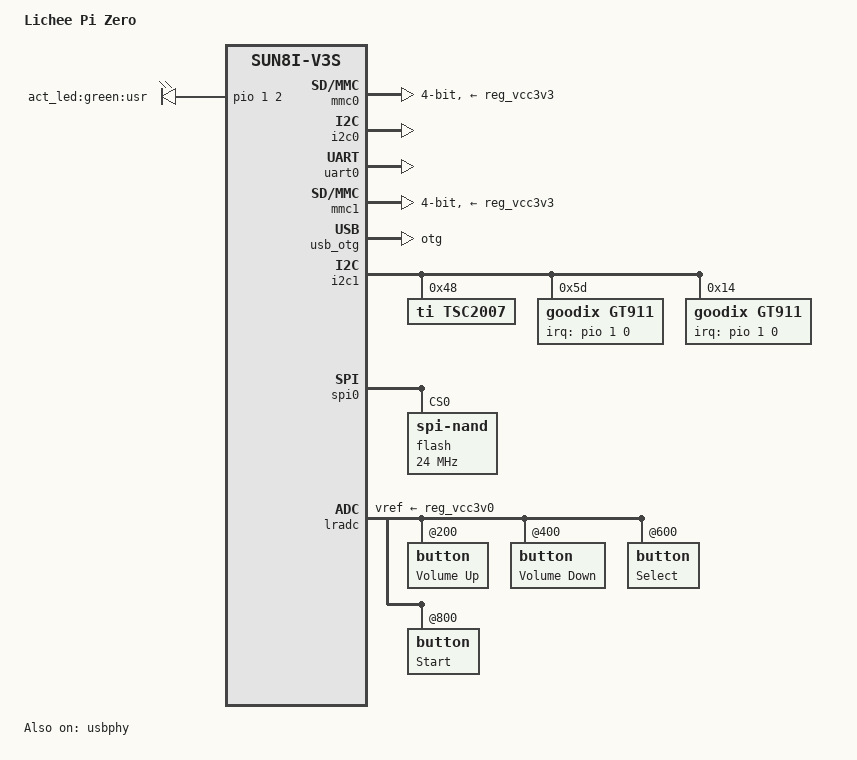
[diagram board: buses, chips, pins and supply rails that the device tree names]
/dts-v1/;
#include "sun8i-v3s.dtsi"
#include "sunxi-common-regulators.dtsi"
#include <dt-bindings/input/input.h>

/ {
	model = "Lichee Pi Zero";
	compatible = "licheepi,licheepi-zero", "allwinner,sun8i-v3s";

	aliases {
		serial0 = &uart0;
		spi0 = &spi0;
	};

	chosen {
		stdout-path = "serial0:115200n8";

		fb0: framebuffer@0 {
			compatible = "allwinner,simple-framebuffer", "simple-framebuffer";
			allwinner,pipeline = "de0-lcd0";
			clocks = <0x2 0x21 0x2 0x23 0x2 0x3f 0x2 0x40>;
			status = "disabled";
		};
	};


/*
	leds {
		compatible = "gpio-leds";

		blue_led {
			label = "licheepi:blue:usr";
			gpios = <&pio 6 1 GPIO_ACTIVE_LOW>; /* PG1 * /
		};

		green_led {
			label = "licheepi:green:usr";
			gpios = <&pio 6 0 GPIO_ACTIVE_LOW>; /* PG0 * /
			default-state = "on";
		};

		red_led {
			label = "licheepi:red:usr";
			gpios = <&pio 6 2 GPIO_ACTIVE_LOW>; /* PG2 * /
		};
	};
*/

    leds {
        compatible = "gpio-leds";

        act_led {
            label = "act_led:green:usr";
            gpios = <&pio 1 2 GPIO_ACTIVE_HIGH>; /* PB2 */
            linux,default-trigger = "mmc0";
            default-state = "off";
        };
    };

};

&mmc0 {
	pinctrl-0 = <&mmc0_pins_a>;
	pinctrl-names = "default";
	broken-cd;
	bus-width = <4>;
	vmmc-supply = <&reg_vcc3v3>;
	status = "okay";
};

&i2c0 {
    status = "okay";
};

&uart0 {
	pinctrl-0 = <&uart0_pins_a>;
	pinctrl-names = "default";
	status = "okay";
};

&mmc1 {
    pinctrl-0 = <&mmc1_pins>;
    pinctrl-names = "default";
    broken-cd;
    bus-width = <4>;
    /**/
    vmmc-supply = <&reg_vcc3v3>;
    /**/
    status = "okay";
};


&usb_otg {
	dr_mode = "otg";
	status = "okay";
};

&usbphy {
	usb0_id_det-gpio = <&pio 5 6 GPIO_ACTIVE_HIGH>;
	status = "okay";
};

&i2c1 {
    status = "okay";

    tsc2007: tsc2007@48 {
        compatible = "ti,tsc2007";
        reg = <0x48>;
        ti,x-plate-ohms = <400>;
    };


/*
    ns2009: ns2009@48 {
        compatible = "nsiway,ns2009";
        reg = <0x48>;
    };
*/

    gt911@5d {
        compatible = "goodix,gt911";
        reg = <0x5d>;
        interrupt-parent = <&pio>;
        /* interrupts = <21 IRQ_TYPE_NONE>; /* EINT21 (PH21) */
        interrupts = <1 0 IRQ_TYPE_EDGE_FALLING>;

        //touchscreen-inverted-y;
        touchscreen-size-x = <800>;
        touchscreen-size-y = <480>;
/*
        touchscreen-size-x = <800>;
        touchscreen-size-y = <480>;

        irq-gpios   = <&pio 1 0 GPIO_ACTIVE_LOW>;
        reset-gpios = <&pio 1 1 GPIO_ACTIVE_LOW>;
*/
    };

    gt911@14 {
        compatible = "goodix,gt911";
        reg = <0x14>;
        interrupt-parent = <&pio>;
        /*interrupts = <21 IRQ_TYPE_NONE>; /* EINT21 (PH21) */
        interrupts = <1 0 IRQ_TYPE_EDGE_FALLING>;

        //touchscreen-inverted-y;
        touchscreen-size-x = <800>;
        touchscreen-size-y = <480>;
/*
        touchscreen-size-x = <800>;
        touchscreen-size-y = <480>;

        irq-gpios   = <&pio 1 0 GPIO_ACTIVE_LOW>;
        reset-gpios = <&pio 1 1 GPIO_ACTIVE_LOW>;
*/
    };

};

&spi0 {
	status = "okay";
/** /
    spidev@0 {
        compatible = "allwinner,sun8i-h3-spi";
        reg = <1>;
        spi-max-frequency = <100000>;
        
        #address-cells = <1>;
        #size-cells = <0>;
    };
/** /
       spidev@0x00 {
               compatible = "spidev";
               spi-max-frequency = <1200000>;
               reg = <0>;
       };
/** /
	flash: spinand@0 {
		#address-cells = <1>;
		#size-cells = <1>;
		compatible = "spi-nand";
		reg = <0>;

		spi-max-frequency = <40000000>;

		boot@0 {
			label = "boot";
			reg = <0x0000000 0x0100000>;
		};

		ubi0@100000 {
			label = "ubi0";
			reg = <0x0100000 0x0000000>;
		};

	};
/**/
	flash: spinand@0 {
		#address-cells = <1>;
		#size-cells = <1>;
		compatible = "spi-nand";
		reg = <0>;
//		spi-max-frequency = <40000000>;
		spi-max-frequency = <24000000>;
	};
/**/
};

&lradc {
    vref-supply = <&reg_vcc3v0>;
    status = "okay";

    button@200 {
        label = "Volume Up";
        linux,code = <KEY_VOLUMEUP>;
        channel = <0>;
        voltage = <200000>;
    };

    button@400 {
        label = "Volume Down";
        linux,code = <KEY_VOLUMEDOWN>;
        channel = <0>;
        voltage = <400000>;
    };

    button@600 {
        label = "Select";
        linux,code = <KEY_SELECT>;
        channel = <0>;
        voltage = <600000>;
    };

    button@800 {
        label = "Start";
        linux,code = <KEY_OK>;
        channel = <0>;
        voltage = <800000>;
    };
};

/* //{}
&codec {
    allwinner,audio-routing = "Headphone", "HP", "Headphone", "HPCOM", "Mic", "MIC1";
    status = "okay";
};
*/

&pio {
/*
    rgb_pins: rgb_pins@0 {
            pins = "PE0", "PE1", "PE2", "PE3", "PE4",
               "PE5", "PE6", "PE7", "PE8", "PE9",
               "PE10", "PE11", "PE12", "PE13", "PE14",
               "PE15", "PE16", "PE17", "PE18", "PE19",
               "PE23", "PE24";
            function = "lcd";
        };
*/

    i2c0_pins: i2c0 {
        pins = "PB6", "PB7";
        function = "i2c0";
    };

    i2c1_pins: i2c1 {
        pins = "PE21", "PE22";
        function = "i2c1";
    };
    

    uart0_pins: uart0@0 {
        pins = "PB8", "PB9";
        function = "uart0";
    };

};


